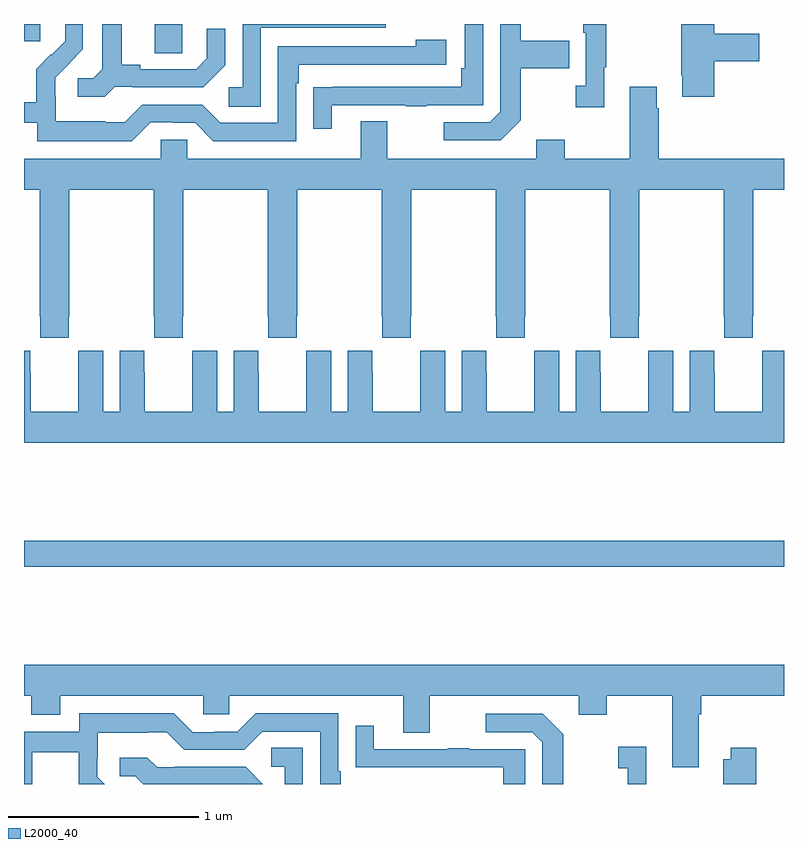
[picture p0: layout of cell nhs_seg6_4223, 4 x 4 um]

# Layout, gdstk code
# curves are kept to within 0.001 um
import gdstk
lib = gdstk.Library(unit=1e-6, precision=1e-09)
def R(c, l, rs):  # rectangles x0, y0, x1, y1
    for r in rs: c.add(gdstk.rectangle(r[:2], r[2:], *l))
def P(c, l, *ps):  # polygons
    for p in ps: c.add(gdstk.Polygon(p, *l))
L2000_40 = (2000, 40)

nhs_seg6_4223 = lib.new_cell('nhs_seg6_4223')
R(nhs_seg6_4223, L2000_40, [(359,986.644,363,986.78), (359.687,989.347,359.832,989.5), (359,989.409,359.086,989.5)])
P(nhs_seg6_4223, L2000_40, [(359.667,988.983),(359.783,988.983),(359.783,988.98),(359.901,988.98),(359.997,988.884),(360.432,988.884),(360.432,989.189),(360.445,989.189),(360.445,989.286),(361.222,989.286),(361.222,989.416),(361.061,989.416),(361.061,989.382),(360.336,989.382),(360.336,988.98),(360.033,988.98),(359.937,989.076),(359.622,989.076),(359.529,988.983),(359.429,988.983),(359.429,988.987),(359.166,988.987),(359.166,989.121),(359.164,989.121),(359.164,989.218),(359.31,989.366),(359.31,989.5),(359.216,989.5),(359.216,989.408),(359.145,989.337),(359.142,989.34),(359.065,989.263),(359.065,989.089),(359,989.089),(359,988.98),(359.07,988.98),(359.07,988.883),(359.567,988.883)],
  [(361.615,988.993),(361.615,989.266),(361.871,989.266),(361.871,989.413),(361.615,989.413),(361.615,989.5),(361.506,989.5),(361.506,989.037),(361.452,988.983),(361.209,988.983),(361.209,988.887),(361.509,988.887)],
  [(362.633,989.303),(362.869,989.303),(362.869,989.45),(362.633,989.45),(362.633,989.5),(362.458,989.5),(362.458,989.23),(362.465,989.23),(362.465,989.118),(362.633,989.118)],
  [(362.053,989.273),(362.065,989.273),(362.065,989.5),(361.944,989.5),(361.944,989.453),(361.956,989.453),(361.956,989.174),(361.905,989.174),(361.905,989.061),(362.053,989.061)],
  [(359.478,989.169),(359.572,989.169),(359.572,989.166),(359.944,989.166),(360.06,989.282),(360.06,989.476),(359.963,989.476),(359.963,989.319),(359.906,989.262),(359.611,989.262),(359.611,989.285),(359.515,989.285),(359.515,989.5),(359.411,989.5),(359.411,989.261),(359.364,989.214),(359.283,989.214),(359.283,989.117),(359.426,989.117)],
  [(360.619,989.073),(361.009,989.073),(361.009,989.068),(361.121,989.068),(361.121,989.073),(361.416,989.073),(361.416,989.5),(361.32,989.5),(361.32,989.266),(361.3,989.266),(361.3,989.169),(360.625,989.169),(360.625,989.168),(360.523,989.168),(360.523,988.95),(360.619,988.95)],
  [(360.246,989.481),(360.905,989.481),(360.905,989.5),(360.15,989.5),(360.15,989.166),(360.078,989.166),(360.078,989.065),(360.246,989.065)],
  [(359.235,987.961),(359.238,987.961),(359.238,988.628),(359.683,988.628),(359.683,987.961),(359.685,987.961),(359.685,987.849),(359.835,987.849),(359.835,987.961),(359.838,987.961),(359.838,988.628),(360.283,988.628),(360.283,987.961),(360.285,987.961),(360.285,987.849),(360.435,987.849),(360.435,987.961),(360.438,987.961),(360.438,988.628),(360.883,988.628),(360.883,987.961),(360.885,987.961),(360.885,987.849),(361.035,987.849),(361.035,987.961),(361.038,987.961),(361.038,988.628),(361.483,988.628),(361.483,987.961),(361.485,987.961),(361.485,987.849),(361.635,987.849),(361.635,987.961),(361.638,987.961),(361.638,988.628),(362.083,988.628),(362.083,987.961),(362.085,987.961),(362.085,987.849),(362.235,987.849),(362.235,987.961),(362.238,987.961),(362.238,988.628),(362.683,988.628),(362.683,987.961),(362.685,987.961),(362.685,987.849),(362.835,987.849),(362.835,987.961),(362.838,987.961),(362.838,988.628),(363,988.628),(363,988.792),(362.342,988.792),(362.342,989.057),(362.329,989.057),(362.329,989.17),(362.189,989.17),(362.189,988.792),(361.845,988.792),(361.845,988.891),(361.697,988.891),(361.697,988.792),(360.913,988.792),(360.913,988.987),(360.773,988.987),(360.773,988.792),(359.859,988.792),(359.859,988.89),(359.721,988.89),(359.721,988.792),(359,988.792),(359,988.628),(359.083,988.628),(359.083,987.961),(359.085,987.961),(359.085,987.849),(359.235,987.849)],
  [(363,987.781),(362.886,987.781),(362.886,987.668),(362.885,987.668),(362.885,987.46),(362.635,987.46),(362.635,987.668),(362.634,987.668),(362.634,987.781),(362.504,987.781),(362.504,987.46),(362.416,987.46),(362.416,987.781),(362.286,987.781),(362.286,987.668),(362.285,987.668),(362.285,987.46),(362.035,987.46),(362.035,987.668),(362.034,987.668),(362.034,987.781),(361.904,987.781),(361.904,987.46),(361.816,987.46),(361.816,987.781),(361.686,987.781),(361.686,987.668),(361.685,987.668),(361.685,987.46),(361.435,987.46),(361.435,987.668),(361.434,987.668),(361.434,987.781),(361.304,987.781),(361.304,987.46),(361.216,987.46),(361.216,987.781),(361.086,987.781),(361.086,987.668),(361.085,987.668),(361.085,987.46),(360.835,987.46),(360.835,987.668),(360.834,987.668),(360.834,987.781),(360.704,987.781),(360.704,987.46),(360.616,987.46),(360.616,987.781),(360.486,987.781),(360.486,987.668),(360.485,987.668),(360.485,987.46),(360.235,987.46),(360.235,987.668),(360.234,987.668),(360.234,987.781),(360.104,987.781),(360.104,987.46),(360.016,987.46),(360.016,987.781),(359.886,987.781),(359.886,987.668),(359.885,987.668),(359.885,987.46),(359.635,987.46),(359.635,987.668),(359.634,987.668),(359.634,987.781),(359.504,987.781),(359.504,987.46),(359.416,987.46),(359.416,987.781),(359.286,987.781),(359.286,987.668),(359.285,987.668),(359.285,987.46),(359.035,987.46),(359.035,987.668),(359.034,987.668),(359.034,987.781),(359,987.781),(359,987.296),(363,987.296)],
  [(362.551,985.868),(362.564,985.868),(362.564,985.964),(363,985.964),(363,986.128),(359,986.128),(359,985.964),(359.039,985.964),(359.039,985.865),(359.191,985.865),(359.191,985.964),(359.943,985.964),(359.943,985.866),(360.081,985.866),(360.081,985.964),(360.995,985.964),(360.995,985.77),(361.135,985.77),(361.135,985.964),(361.919,985.964),(361.919,985.865),(362.067,985.865),(362.067,985.964),(362.411,985.964),(362.411,985.587),(362.551,985.587)],
  [(359.043,985.668),(359.287,985.668),(359.287,985.5),(359.424,985.5),(359.386,985.538),(359.386,985.635),(359.388,985.635),(359.388,985.769),(359.651,985.769),(359.651,985.773),(359.751,985.773),(359.844,985.68),(360.159,985.68),(360.255,985.776),(360.558,985.776),(360.558,985.5),(360.667,985.5),(360.667,985.567),(360.654,985.567),(360.654,985.872),(360.219,985.872),(360.123,985.776),(360.005,985.776),(360.005,985.773),(359.889,985.773),(359.789,985.873),(359.292,985.873),(359.292,985.776),(359,985.776),(359,985.5),(359.043,985.5)],
  [(361.837,985.763),(361.731,985.869),(361.431,985.869),(361.431,985.773),(361.674,985.773),(361.728,985.719),(361.728,985.5),(361.837,985.5)],
  [(361.638,985.683),(361.343,985.683),(361.343,985.688),(361.231,985.688),(361.231,985.683),(360.841,985.683),(360.841,985.807),(360.745,985.807),(360.745,985.588),(360.847,985.588),(360.847,985.587),(361.522,985.587),(361.522,985.5),(361.638,985.5)],
  [(362.275,985.696),(362.127,985.696),(362.127,985.583),(362.178,985.583),(362.178,985.5),(362.275,985.5)],
  [(360.468,985.691),(360.3,985.691),(360.3,985.59),(360.372,985.59),(360.372,985.5),(360.468,985.5)],
  [(362.855,985.69),(362.72,985.69),(362.72,985.63),(362.68,985.63),(362.68,985.5),(362.855,985.5)],
  [(360.166,985.59),(359.794,985.59),(359.794,985.587),(359.7,985.587),(359.648,985.639),(359.505,985.639),(359.505,985.542),(359.586,985.542),(359.628,985.5),(360.256,985.5)])

lib.write_gds('nhs_seg6_4223.gds')
